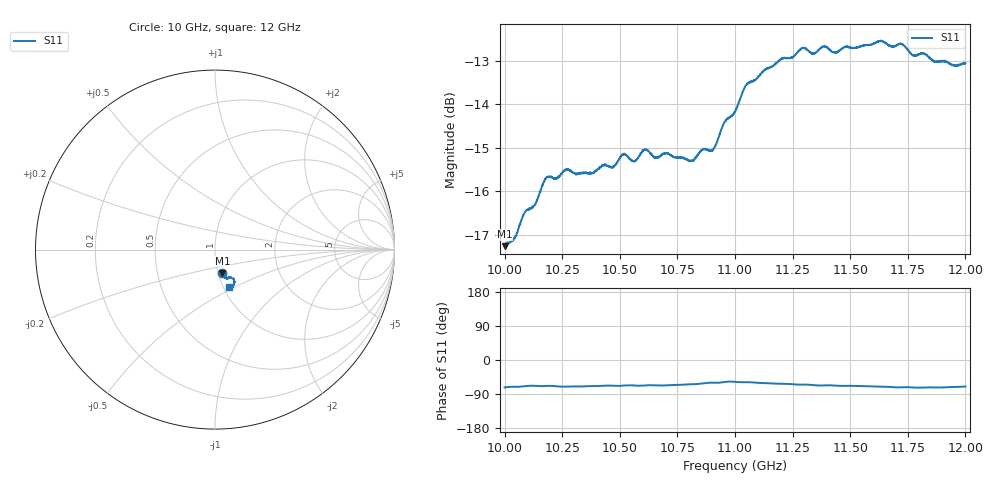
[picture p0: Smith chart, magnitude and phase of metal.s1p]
[Version] 2.0
! Rohde & Schwarz Vector Network Analyzer
! Rohde-Schwarz,ZNL20-2Port,1323001220200009,1.71.1.10-23.02.1.238
! Port Assignments:
! Nominal Port -> Actual Test Port
!  1 -> 1
! Created: GMT 2024-09-04 14:06:40
# Hz S DB R 50
[Number of Ports] 1
! freq[Hz]  S11[mag dB]  S11[ang]
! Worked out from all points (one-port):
!   2001 points, 10 GHz to 12 GHz, reference 50 ohm
!   lowest |S11| = -17.3 dB at 10 GHz (marker M1), VSWR 1.32, Z = 52.4 - j14 ohm
!   |S11| at or under -10 dB: start of sweep to end of sweep
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[Number of Frequencies] 28
[Network Data]
1e10  -17.26 -72.5
1.0043e10  -17.08 -70.7
1.0084e10  -16.53 -69.4
1.0133e10  -16.31 -68.3
1.0178e10  -15.71 -68.6
1.025e10  -15.57 -70.4
1.0381e10  -15.59 -68.9
1.05e10  -15.23 -68.2
1.0563e10  -15.32 -67.3
1.0612e10  -15.04 -67.2
1.0655e10  -15.22 -67.0
1.075e10  -15.23 -65.9
1.0811e10  -15.30 -64.1
1.0861e10  -15.04 -61.6
1.0902e10  -15.05 -59.9
1.0956e10  -14.40 -58.1
1.1e10  -14.16 -57.7
1.1056e10  -13.52 -58.7
1.125e10  -12.91 -64.0
1.1294e10  -12.70 -64.9
1.134e10  -12.83 -66.2
1.1386e10  -12.67 -67.1
1.1434e10  -12.80 -67.5
1.15e10  -12.69 -68.2
1.1633e10  -12.53 -70.2
1.175e10  -12.75 -71.9
1.1886e10  -13.02 -72.6
1.2e10  -13.06 -69.9
[End]
